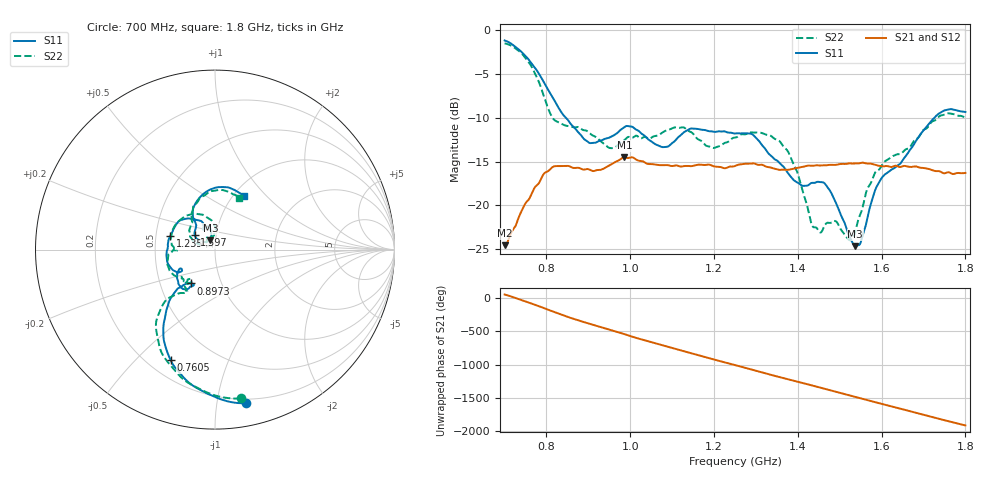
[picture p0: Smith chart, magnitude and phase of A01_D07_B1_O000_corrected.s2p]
! Created with skrf 1.9.0 (http://scikit-rf.org).
# Hz S RI R 50.0
!freq ReS11 ImS11 ReS21 ImS21 ReS12 ImS12 ReS22 ImS22
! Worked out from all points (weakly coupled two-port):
!   1601 points, 700 MHz to 1.8 GHz, reference 50 ohm
!   highest |S21| = -14.51 dB at 986 MHz (marker M1); lowest = -24.6 dB at 700 MHz (marker M2)
!   lowest |S11| = -24.7 dB at 1.537 GHz (marker M3), VSWR 1.12, Z = 47.2 + j4.95 ohm
!   |S11| at or under -10 dB: 846.3 MHz to 1.726 GHz (879.5 MHz wide, 68.4 % of centre)
!   |S22| runs from -24.0 to -1.5 dB; largest |S21 - S12| = 0.0037
!   S11 on the Smith chart (normalised r, x): 700 MHz: 0.17, -1.21; 760.5 MHz: 0.29, -0.64; 897.3 MHz: 0.71, -0.28; 1.235 GHz: 0.60, +0.10; 1.597 GHz: 0.79, +0.13; 1.8 GHz: 1.12, +0.76
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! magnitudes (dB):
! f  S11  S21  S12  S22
! 700 MHz  -1.2  -24.6  -24.4  -1.5
! 760.5 MHz  -3.6  -19.1  -19.0  -3.9
! 816.2 MHz  -7.8  -15.6  -15.7  -10.1
! 883.6 MHz  -12.1  -15.9  -15.8  -11.3
! 897.3 MHz  -12.7  -15.9  -15.9  -11.5
! 952.3 MHz  -12.2  -15.4  -15.4  -13.5
! 986 MHz  -11.1  -14.5  -14.6  -12.6
! 1.067 GHz  -13.2  -15.4  -15.4  -12.0
! 1.145 GHz  -11.2  -15.5  -15.5  -11.6
! 1.235 GHz  -11.7  -15.6  -15.7  -12.7
! 1.25 GHz  -11.8  -15.5  -15.4  -12.3
! 1.292 GHz  -11.9  -15.2  -15.2  -11.7
! 1.358 GHz  -15.2  -16.0  -15.9  -12.8
! 1.397 GHz  -17.4  -15.7  -15.7  -16.0
! 1.434 GHz  -17.4  -15.5  -15.5  -22.3
! 1.473 GHz  -18.1  -15.4  -15.4  -22.0
! 1.537 GHz  -24.7  -15.2  -15.2  -23.1
! 1.566 GHz  -21.6  -15.2  -15.2  -18.2
! 1.597 GHz  -17.1  -15.5  -15.5  -15.8
! 1.617 GHz  -16.2  -15.6  -15.5  -14.7
! 1.735 GHz  -9.6  -16.1  -16.2  -9.9
! 1.8 GHz  -9.3  -16.3  -16.3  -10.0
